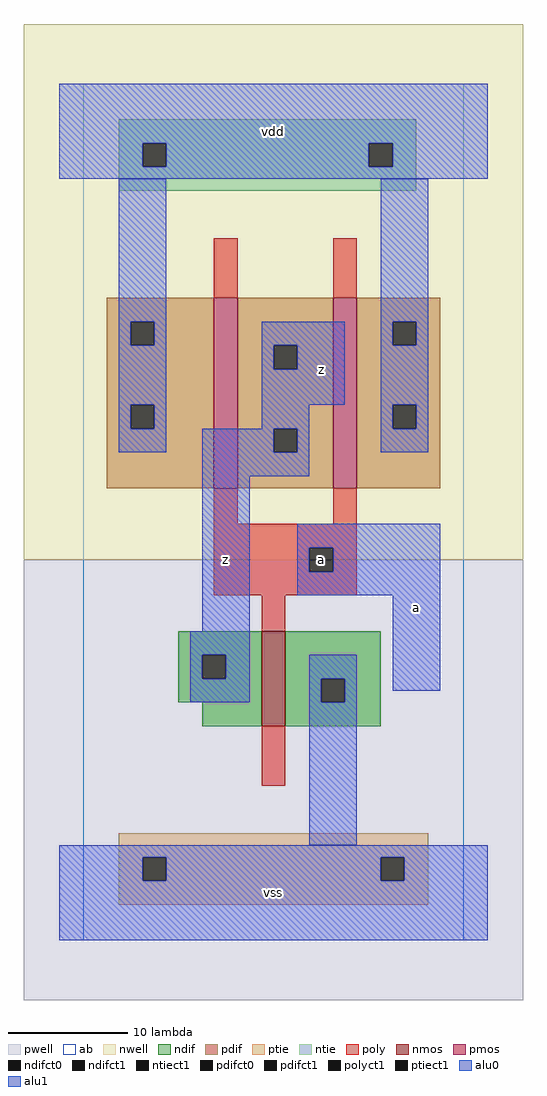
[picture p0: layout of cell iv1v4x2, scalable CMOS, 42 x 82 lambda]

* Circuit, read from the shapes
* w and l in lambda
.subckt iv1v4x2 a vdd vss z
M1 vss a z vss nfet w=8 l=2
M2 z a vdd vdd pfet w=16 l=2 m=2
.ends

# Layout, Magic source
magic
tech scmos
<< ab >>
rect 0 0 32 72
<< nwell >>
rect -5 32 37 77
<< pwell >>
rect -5 -5 37 32
<< poly >>
rect 11 54 13 59
rect 21 54 23 59
rect 11 35 13 38
rect 21 35 23 38
rect 11 33 23 35
rect 11 31 19 33
rect 21 31 23 33
rect 11 29 23 31
rect 15 26 17 29
rect 15 13 17 18
<< ndif >>
rect 8 24 15 26
rect 8 22 10 24
rect 12 22 15 24
rect 8 20 15 22
rect 10 18 15 20
rect 17 22 25 26
rect 17 20 20 22
rect 22 20 25 22
rect 17 18 25 20
<< pdif >>
rect 2 52 11 54
rect 2 50 4 52
rect 6 50 11 52
rect 2 45 11 50
rect 2 43 4 45
rect 6 43 11 45
rect 2 38 11 43
rect 13 50 21 54
rect 13 48 16 50
rect 18 48 21 50
rect 13 43 21 48
rect 13 41 16 43
rect 18 41 21 43
rect 13 38 21 41
rect 23 52 30 54
rect 23 50 26 52
rect 28 50 30 52
rect 23 45 30 50
rect 23 43 26 45
rect 28 43 30 45
rect 23 38 30 43
<< alu1 >>
rect -2 67 34 72
rect -2 65 5 67
rect 7 65 24 67
rect 26 65 34 67
rect -2 64 34 65
rect 15 50 22 52
rect 15 48 16 50
rect 18 48 22 50
rect 15 45 22 48
rect 15 43 19 45
rect 10 41 16 43
rect 18 41 19 43
rect 10 39 19 41
rect 10 26 14 39
rect 18 33 30 35
rect 18 31 19 33
rect 21 31 30 33
rect 18 29 30 31
rect 9 24 14 26
rect 9 22 10 24
rect 12 22 14 24
rect 9 20 14 22
rect 26 21 30 29
rect -2 7 34 8
rect -2 5 5 7
rect 7 5 25 7
rect 27 5 34 7
rect -2 0 34 5
<< ptie >>
rect 3 7 29 9
rect 3 5 5 7
rect 7 5 25 7
rect 27 5 29 7
rect 3 3 29 5
<< ntie >>
rect 3 67 28 69
rect 3 65 5 67
rect 7 65 24 67
rect 26 65 28 67
rect 3 63 28 65
<< nmos >>
rect 15 18 17 26
<< pmos >>
rect 11 38 13 54
rect 21 38 23 54
<< polyct1 >>
rect 19 31 21 33
<< ndifct0 >>
rect 20 20 22 22
<< ndifct1 >>
rect 10 22 12 24
<< ntiect1 >>
rect 5 65 7 67
rect 24 65 26 67
<< ptiect1 >>
rect 5 5 7 7
rect 25 5 27 7
<< pdifct0 >>
rect 4 50 6 52
rect 4 43 6 45
rect 26 50 28 52
rect 26 43 28 45
<< pdifct1 >>
rect 16 48 18 50
rect 16 41 18 43
<< alu0 >>
rect 3 52 7 64
rect 25 52 29 64
rect 3 50 4 52
rect 6 50 7 52
rect 3 45 7 50
rect 3 43 4 45
rect 6 43 7 45
rect 25 50 26 52
rect 28 50 29 52
rect 25 45 29 50
rect 3 41 7 43
rect 25 43 26 45
rect 28 43 29 45
rect 25 41 29 43
rect 19 22 23 24
rect 19 20 20 22
rect 22 20 23 22
rect 19 8 23 20
<< labels >>
rlabel alu1 12 32 12 32 6 z
rlabel alu1 16 4 16 4 6 vss
rlabel polyct1 20 32 20 32 6 a
rlabel alu1 20 48 20 48 6 z
rlabel alu1 16 68 16 68 6 vdd
rlabel alu1 28 28 28 28 6 a
<< end >>
